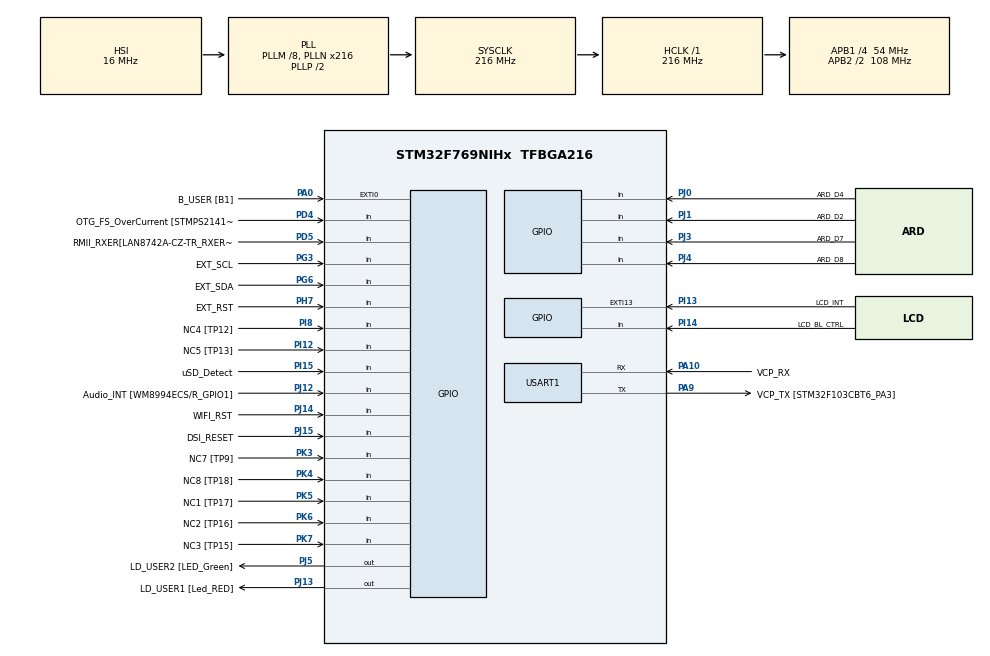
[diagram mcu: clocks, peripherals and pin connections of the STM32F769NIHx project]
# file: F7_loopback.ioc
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CORTEX_M7.CPU_DCache=Enabled
CORTEX_M7.CPU_ICache=Enabled
CORTEX_M7.Enable-Cortex_Memory_Protection_Unit_Region0_Settings=MPU_REGION_ENABLE
CORTEX_M7.MPU_Control=__NULL
DSIHOST_CKN.GPIO_Label=DSI_CK_N
DSIHOST_CKN.Signal=DSIHOST_CKN
DSIHOST_CKP.GPIO_Label=DSI_CK_P
DSIHOST_CKP.Signal=DSIHOST_CKP
DSIHOST_D0N.GPIO_Label=DSI_D0_N
DSIHOST_D0N.Signal=DSIHOST_D0N
DSIHOST_D0P.GPIO_Label=DSI_D0_p
DSIHOST_D0P.Signal=DSIHOST_D0P
DSIHOST_D1N.GPIO_Label=DSI_D1_N
DSIHOST_D1N.Signal=DSIHOST_D1N
DSIHOST_D1P.GPIO_Label=DSI_D1_P
DSIHOST_D1P.Signal=DSIHOST_D1P
Mcu.Family=STM32F7
Mcu.Name=STM32F769NIHx
Mcu.Package=TFBGA216
NVIC.PriorityGroup=NVIC_PRIORITYGROUP_4
PA0/WKUP.GPIO_Label=B_USER [B1]
PA0/WKUP.Signal=GPXTI0
PA1.GPIO_Label=RMII_REF_CLK [LAN8742A-CZ-TR_REFCLK0]
PA1.Signal=ETH_REF_CLK
PA10.GPIO_Label=VCP_RX 
PA10.Mode=Asynchronous
PA10.Signal=USART1_RX
PA11.GPIO_Label=SPI2_NSS
PA11.Signal=SPI2_NSS
PA12.GPIO_Label=ARD_D13/SCK
PA12.GPIO_Mode=GPIO_MODE_AF_PP
PA12.GPIO_PuPd=GPIO_NOPULL
PA12.GPIO_Speed=GPIO_SPEED_FREQ_LOW
PA12.Signal=SPI2_SCK
PA13.GPIO_Label=SWDIO
PA13.Signal=SYS_JTMS-SWDIO
PA14.GPIO_Label=SWCLK
PA14.Signal=SYS_JTCK-SWCLK
PA15.GPIO_Label=CEC
PA15.Signal=CEC
PA2.GPIO_Label=RMII_MDIO [LAN8742A-CZ-TR_MDIO]
PA2.Signal=ETH_MDIO
PA3.GPIO_Label=ULPI_D0 [USB3320C-EZK_D0]
PA3.Signal=USB_OTG_HS_ULPI_D0
PA4.GPIO_Label=ARD_A1
PA4.Signal=ADCx_IN4
PA5.GPIO_Label=ULPI_CLK [USB3320C-EZK_CLKOUT]
PA5.Signal=USB_OTG_HS_ULPI_CK
PA6.GPIO_Label=ARD_A0
PA6.Signal=ADCx_IN6
PA7.GPIO_Label=RMII_CRS_DV [LAN8742A-CZ-TR_CRS_DV]
PA7.Signal=ETH_CRS_DV
PA8.GPIO_Label=CEC_CLK [TP2]
PA8.Signal=RCC_MCO_1
PA9.GPIO_Label=VCP_TX [STM32F103CBT6_PA3]
PA9.GPIO_Mode=GPIO_MODE_AF_PP
PA9.GPIO_PuPd=GPIO_NOPULL
PA9.GPIO_Speed=GPIO_SPEED_FREQ_LOW
PA9.Mode=Asynchronous
PA9.Signal=USART1_TX
PB0.GPIO_Label=ULPI_D1 [USB3320C-EZK_D1]
PB0.Signal=USB_OTG_HS_ULPI_D1
PB1.GPIO_Label=ULPI_D2 [USB3320C-EZK_D2]
PB1.Signal=USB_OTG_HS_ULPI_D2
PB10.GPIO_Label=ULPI_D3 [USB3320C-EZK_D3]
PB10.Signal=USB_OTG_HS_ULPI_D3
PB11.GPIO_Label=ULPI_D4 [USB3320C-EZK_D4]
PB11.Signal=USB_OTG_HS_ULPI_D4
PB12.GPIO_Label=ULPI_D5 [USB3320C-EZK_D5]
PB12.Signal=USB_OTG_HS_ULPI_D5
PB13.GPIO_Label=ULPI_D6 [USB3320C-EZK_D6]
PB13.Signal=USB_OTG_HS_ULPI_D6
PB14.GPIO_Label=ARDUINO MISO/D12
PB14.GPIO_Mode=GPIO_MODE_AF_PP
PB14.GPIO_PuPd=GPIO_NOPULL
PB14.GPIO_Speed=GPIO_SPEED_FREQ_LOW
PB14.Signal=SPI2_MISO
PB15.GPIO_Label=ARDUINO MOSI/PWM/D11
PB15.GPIO_Mode=GPIO_MODE_AF_PP
PB15.GPIO_PuPd=GPIO_NOPULL
PB15.GPIO_Speed=GPIO_SPEED_FREQ_LOW
PB15.Signal=SPI2_MOSI
PB2.Signal=QUADSPI_CLK
PB3.GPIO_Label=uSD_D2
PB3.Signal=SDMMC2_D2
PB4.GPIO_Label=uSD_D3
PB4.Signal=SDMMC2_D3
PB5.GPIO_Label=ULPI_D7 [USB3320C-EZK_D7]
PB5.Signal=USB_OTG_HS_ULPI_D7
PB6.GPIO_Label=QSPI_NCS [N25Q128A13EF840E_S]
PB6.Signal=QUADSPI_BK1_NCS
PB7.GPIO_Label=AUDIO_SDA [WM8994ECS/R_SDA]
PB7.Signal=I2C4_SDA
PB8.GPIO_Label=ARDUINO SCL/D15
PB8.GPIO_Mode=GPIO_MODE_AF_OD
PB8.GPIO_PuPd=GPIO_NOPULL
PB8.GPIO_Speed=GPIO_SPEED_FREQ_LOW
PB8.Signal=I2C1_SCL
PB9.GPIO_Label=ARDUINO SDA/D14
PB9.GPIO_Mode=GPIO_MODE_AF_OD
PB9.GPIO_PuPd=GPIO_NOPULL
PB9.GPIO_Speed=GPIO_SPEED_FREQ_LOW
PB9.Signal=I2C1_SDA
PC0.GPIO_Label=ULPI_STP [USB3320C-EZK_STP]
PC0.Signal=USB_OTG_HS_ULPI_STP
PC1.GPIO_Label=RMII_MDC [LAN8742A-CZ-TR_MDC]
PC1.Signal=ETH_MDC
PC10.GPIO_Label=QSPI_D1 [MT25QL512ABB1EW9_DQ1]
PC10.Signal=QUADSPI_BK1_IO1
PC11.GPIO_Label=DFSDM_DATIN5 [TP100]
PC11.Signal=S_DATAIN5DFSDM1
PC12.GPIO_Label=WIFI_RX
PC12.Signal=UART5_TX
PC14/OSC32_IN.GPIO_Label=RCC_OSC32_IN
PC14/OSC32_IN.Signal=RCC_OSC32_IN
PC15/OSC32_OUT.GPIO_Label=RCC_OSC32_OUT
PC15/OSC32_OUT.Signal=RCC_OSC32_OUT
PC2.GPIO_Label=ARD_A2
PC2.Signal=ADCx_IN12
PC3.GPIO_Label=DFSDM_DATIN1 [TP101]
PC3.Signal=S_DATAIN1DFSDM1
PC4.GPIO_Label=RMII_RXD0 [LAN8742A-CZ-TR_RXD0]
PC4.Signal=ETH_RXD0
PC5.GPIO_Label=RMII_RXD1 [LAN8742A-CZ-TR_RXD1]
PC5.Signal=ETH_RXD1
PC6.GPIO_Label=ARDUINO TX/D1
PC6.Signal=USART6_TX
PC7.GPIO_Label=ARD_D0/RX
PC7.Signal=USART6_RX
PC8.GPIO_Label=ARD_D5/PWM
PC8.Signal=S_TIM3_CH3
PC9.GPIO_Label=QSPI_D0 [N25Q128A13EF840E_DQ0]
PC9.Signal=QUADSPI_BK1_IO0
PD0.GPIO_Label=FMC_D2 [MT48LC4M32B2B5-6A_DQ2]
PD0.Signal=FMC_D2_DA2
PD1.GPIO_Label=FMC_D3 [MT48LC4M32B2B5-6A_DQ3]
PD1.Signal=FMC_D3_DA3
PD10.GPIO_Label=FMC_D15 [MT48LC4M32B2B5-6A_DQ15]
PD10.Signal=FMC_D15_DA15
PD11.GPIO_Label=SPDIF_TX [TP20]
PD11.Signal=SAI2_SD_A
PD12.GPIO_Label=AUDIO_SCL [WM8994ECS/R_SCLK]
PD12.Signal=I2C4_SCL
PD13.GPIO_Label=QSPI_D3 [N25Q128A13EF840E_DQ3]
PD13.Signal=QUADSPI_BK1_IO3
PD14.GPIO_Label=FMC_D0 [MT48LC4M32B2B5-6A_DQ0]
PD14.Signal=FMC_D0_DA0
PD15.GPIO_Label=FMC_D1 [MT48LC4M32B2B5-6A_DQ1]
PD15.Signal=FMC_D1_DA1
PD2.GPIO_Label=WIFI_TX
PD2.Signal=UART5_RX
PD3.GPIO_Label=DFSDM_CKOUT [TP102]
PD3.Signal=S_CKOUTDFSDM1
PD4.GPIO_Label=OTG_FS_OverCurrent [STMPS2141STR_Fault]
PD4.Signal=GPIO_Input
PD5.GPIO_Label=RMII_RXER[LAN8742A-CZ-TR_RXERR]
PD5.Signal=GPIO_Input
PD6.GPIO_Label=uSD_CLK
PD6.Signal=SDMMC2_CK
PD7.GPIO_Label=uSD_CMD
PD7.Signal=SDMMC2_CMD
PD8.GPIO_Label=FMC_D13 [MT48LC4M32B2B5-6A_DQ13]
PD8.Signal=FMC_D13_DA13
PD9.GPIO_Label=FMC_D14 [MT48LC4M32B2B5-6A_DQ14]
PD9.Signal=FMC_D14_DA14
PE0.GPIO_Label=FMC_NBL0 [MT48LC4M32B2B5-6A_DQM0]
PE0.Signal=FMC_NBL0
PE1.GPIO_Label=FMC_NBL1 [MT48LC4M32B2B5-6A_DQM1]
PE1.Signal=FMC_NBL1
PE10.GPIO_Label=FMC_D7 [MT48LC4M32B2B5-6A_DQ7]
PE10.Signal=FMC_D7_DA7
PE11.GPIO_Label=FMC_D8 [MT48LC4M32B2B5-6A_DQ8]
PE11.Signal=FMC_D8_DA8
PE12.GPIO_Label=FMC_D9 [MT48LC4M32B2B5-6A_DQ9]
PE12.Signal=FMC_D9_DA9
PE13.GPIO_Label=FMC_D10 [MT48LC4M32B2B5-6A_DQ10]
PE13.Signal=FMC_D10_DA10
PE14.GPIO_Label=FMC_D11 [MT48LC4M32B2B5-6A_DQ11]
PE14.Signal=FMC_D11_DA11
PE15.GPIO_Label=FMC_D12 [MT48LC4M32B2B5-6A_DQ12]
PE15.Signal=FMC_D12_DA12
PE2.GPIO_Label=QSPI_D2 [N25Q128A13EF840E_DQ2]
PE2.Signal=QUADSPI_BK1_IO2
PE3.GPIO_Label=SAI1_SDB [WM8994ECS/R_ADCDAT1]
PE3.Signal=SAI1_SD_B
PE4.GPIO_Label=SAI1_FSA [WM8994ECS/R_LRCLK1]
PE4.Signal=SAI1_FS_A
PE5.GPIO_Label=SAI1_SCKA [WM8994ECS/R_BCLK1]
PE5.Signal=SAI1_SCK_A
PE6.GPIO_Label=SAI1_SDA [WM8994ECS/R_DACDAT1]
PE6.Signal=SAI1_SD_A
PE7.GPIO_Label=FMC_D4 [MT48LC4M32B2B5-6A_DQ4]
PE7.Signal=FMC_D4_DA4
PE8.GPIO_Label=FMC_D5 [MT48LC4M32B2B5-6A_DQ5]
PE8.Signal=FMC_D5_DA5
PE9.GPIO_Label=FMC_D6 [MT48LC4M32B2B5-6A_DQ6]
PE9.Signal=FMC_D6_DA6
PF0.GPIO_Label=FMC_A0 [MT48LC4M32B2B5-6A_A0]
PF0.Signal=FMC_A0
PF1.GPIO_Label=FMC_A1 [MT48LC4M32B2B5-6A_A1]
PF1.Signal=FMC_A1
PF10.GPIO_Label=ARDUINO A1
PF10.GPIO_Mode=GPIO_MODE_ANALOG
PF10.GPIO_PuPd=GPIO_NOPULL
PF10.Signal=ADC3_IN8
PF11.GPIO_Label=FMC_SDNRAS [MT48LC4M32B2B5-6A_RAS]
PF11.Signal=FMC_SDNRAS
PF12.GPIO_Label=FMC_A6 [MT48LC4M32B2B5-6A_A6]
PF12.Signal=FMC_A6
PF13.GPIO_Label=FMC_A7 [MT48LC4M32B2B5-6A_A7]
PF13.Signal=FMC_A7
PF14.GPIO_Label=FMC_A8 [MT48LC4M32B2B5-6A_A8]
PF14.Signal=FMC_A8
PF15.GPIO_Label=FMC_A9 [MT48LC4M32B2B5-6A_A9]
PF15.Signal=FMC_A9
PF2.GPIO_Label=FMC_A2 [MT48LC4M32B2B5-6A_A2]
PF2.Signal=FMC_A2
PF3.GPIO_Label=FMC_A3 [MT48LC4M32B2B5-6A_A3]
PF3.Signal=FMC_A3
PF4.GPIO_Label=FMC_A4 [MT48LC4M32B2B5-6A_A4]
PF4.Signal=FMC_A4
PF5.GPIO_Label=FMC_A5 [MT48LC4M32B2B5-6A_A5]
PF5.Signal=FMC_A5
PF6.GPIO_Label=ARD_D3/PWM
PF6.Signal=S_TIM10_CH1
PF7.GPIO_Label=ARD_D6/PWM
PF7.Signal=S_TIM11_CH1
PF8.GPIO_Label=ARDUINO A3
PF8.GPIO_Mode=GPIO_MODE_ANALOG
PF8.GPIO_PuPd=GPIO_NOPULL
PF8.Signal=ADC3_IN6
PF9.GPIO_Label=ARDUINO A2
PF9.GPIO_Mode=GPIO_MODE_ANALOG
PF9.GPIO_PuPd=GPIO_NOPULL
PF9.Signal=ADC3_IN7
PG0.GPIO_Label=FMC_A10 [MT48LC4M32B2B5-6A_A10]
PG0.Signal=FMC_A10
PG1.GPIO_Label=FMC_A11 [MT48LC4M32B2B5-6A_A11]
PG1.Signal=FMC_A11
PG10.GPIO_Label=uSD_D1
PG10.Signal=SDMMC2_D1
PG11.GPIO_Label=RMII_TX_EN [LAN8742A-CZ-TR_TXEN]
PG11.Signal=ETH_TX_EN
PG12.GPIO_Label=SPDIF_RX [74LVC1G04SE_4]
PG12.Signal=SPDIFRX_IN1
PG13.GPIO_Label=RMII_TXD0 [LAN8742A-CZ-TR_TXD0]
PG13.Signal=ETH_TXD0
PG14.GPIO_Label=RMII_TXD1 [LAN8742A-CZ-TR_TXD1]
PG14.Signal=ETH_TXD1
PG15.GPIO_Label=FMC_SDNCAS [MT48LC4M32B2B5-6A_CAS]
PG15.Signal=FMC_SDNCAS
PG2.GPIO_Label=FMC_A12
PG2.Signal=FMC_A12
PG3.GPIO_Label=EXT_SCL
PG3.Signal=GPIO_Input
PG4.GPIO_Label=FMC_BA0 [MT48LC4M32B2B5-6A_BA0]
PG4.Signal=FMC_A14_BA0
PG5.GPIO_Label=FMC_BA1 [MT48LC4M32B2B5-6A_BA1]
PG5.Signal=FMC_A15_BA1
PG6.GPIO_Label=EXT_SDA
PG6.Signal=GPIO_Input
PG7.GPIO_Label=SAI1_MCLKA [WM8994ECS/R_MCLK1]
PG7.Signal=SAI1_MCLK_A
PG8.GPIO_Label=FMC_SDCLK [MT48LC4M32B2B5-6A_CLK]
PG8.Signal=FMC_SDCLK
PG9.GPIO_Label=uSD_D0
PG9.Signal=SDMMC2_D0
PH0/OSC_IN.GPIO_Label=OSC_25M [NZ2520SB-25.00M_OUT]
PH0/OSC_IN.Signal=RCC_OSC_IN
PH1/OSC_OUT.Signal=RCC_OSC_OUT
PH10.GPIO_Label=FMC_D18 [MT48LC4M32B2B5-6A_DQ18]
PH10.Signal=FMC_D18
PH11.GPIO_Label=FMC_D19 [MT48LC4M32B2B5-6A_DQ19]
PH11.Signal=FMC_D19
PH12.GPIO_Label=D20
PH12.Signal=FMC_D20
PH13.GPIO_Label=D21
PH13.Signal=FMC_D21
PH14.GPIO_Label=D22
PH14.Signal=FMC_D22
PH15.GPIO_Label=D23
PH15.Signal=FMC_D23
PH2.GPIO_Label=FMC_SDCKE0 [MT48LC4M32B2B5-6A_CKE]
PH2.Signal=FMC_SDCKE0
PH3.GPIO_Label=FMC_SDNE0 [MT48LC4M32B2B5-6A_CS]
PH3.Signal=FMC_SDNE0
PH4.GPIO_Label=ULPI_NXT [USB3320C-EZK_NXT]
PH4.Signal=USB_OTG_HS_ULPI_NXT
PH5.GPIO_Label=FMC_SDNME [MT48LC4M32B2B5-6A_WE]
PH5.Signal=FMC_SDNWE
PH6.GPIO_Label=ARDUINO PWM/D6
PH6.Signal=S_TIM12_CH1
PH7.GPIO_Label=EXT_RST
PH7.Signal=GPIO_Input
PH8.GPIO_Label=FMC_D16 [MT48LC4M32B2B5-6A_DQ16]
PH8.Signal=FMC_D16
PH9.GPIO_Label=FMC_D\!7 [MT48LC4M32B2B5-6A_DQ17]
PH9.Signal=FMC_D17
PI0.GPIO_Label=D24
PI0.Signal=FMC_D24
PI1.GPIO_Label=D25
PI1.Signal=FMC_D25
PI10.GPIO_Label=D31
PI10.Signal=FMC_D31
PI11.GPIO_Label=ULPI_DIR [USB3320C-EZK_DIR]
PI11.Signal=USB_OTG_HS_ULPI_DIR
PI12.GPIO_Label=NC5 [TP13]
PI12.Signal=GPIO_Input
PI13.GPIO_Label=LCD_INT
PI13.GPIO_ModeDefaultEXTI=GPIO_MODE_EVT_RISING
PI13.Signal=GPXTI13
PI14.GPIO_Label=LCD_BL_CTRL
PI14.Signal=GPIO_Input
PI15.GPIO_Label=uSD_Detect
PI15.Signal=GPIO_Input
PI2.GPIO_Label=D26
PI2.Signal=FMC_D26
PI3.GPIO_Label=D27
PI3.Signal=FMC_D27
PI4.GPIO_Label=FMC_NBL2 [MT48LC4M32B2B5-6A_DQM2]
PI4.Signal=FMC_NBL2
PI5.GPIO_Label=FMC_NBL3 [MT48LC4M32B2B5-6A_DQM3]
PI5.Signal=FMC_NBL3
PI6.GPIO_Label=D28
PI6.Signal=FMC_D28
PI7.GPIO_Label=D29
PI7.Signal=FMC_D29
PI8.GPIO_Label=NC4 [TP12]
PI8.Signal=GPIO_Input
PI9.GPIO_Label=D30
PI9.Signal=FMC_D30
PJ0.GPIO_Label=ARD_D4
PJ0.Signal=GPIO_Input
PJ1.GPIO_Label=ARD_D2
PJ1.Signal=GPIO_Input
PJ12.GPIO_Label=Audio_INT [WM8994ECS/R_GPIO1]
PJ12.Signal=GPIO_Input
PJ13.GPIO_Label=LD_USER1 [Led_RED]
PJ13.Signal=GPIO_Output
PJ14.GPIO_Label=WIFI_RST
PJ14.Signal=GPIO_Input
PJ15.GPIO_Label=DSI_RESET
PJ15.Signal=GPIO_Input
PJ2.GPIO_Label=DSIHOST_TE
PJ2.Signal=DSIHOST_TE
PJ3.GPIO_Label=ARD_D7
PJ3.Signal=GPIO_Input
PJ4.GPIO_Label=ARD_D8
PJ4.Signal=GPIO_Input
PJ5.GPIO_Label=LD_USER2 [LED_Green]
PJ5.Signal=GPIO_Output
PK3.GPIO_Label=NC7 [TP9]
PK3.Signal=GPIO_Input
PK4.GPIO_Label=NC8 [TP18]
PK4.Signal=GPIO_Input
PK5.GPIO_Label=NC1 [TP17]
PK5.Signal=GPIO_Input
PK6.GPIO_Label=NC2 [TP16]
PK6.Signal=GPIO_Input
PK7.GPIO_Label=NC3 [TP15]
PK7.Signal=GPIO_Input
ProjectManager.HeapSize=0x200
ProjectManager.StackSize=0x400
ProjectManager.TargetToolchain=STM32CubeIDE
RCC.AHBFreq_Value=216000000
RCC.APB1CLKDivider=RCC_HCLK_DIV4
RCC.APB1Freq_Value=54000000
RCC.APB1TimFreq_Value=108000000
RCC.APB2CLKDivider=RCC_HCLK_DIV2
RCC.APB2Freq_Value=108000000
RCC.APB2TimFreq_Value=216000000
RCC.CortexFreq_Value=216000000
RCC.HCLKFreq_Value=216000000
RCC.HSE_VALUE=25000000
RCC.HSI_VALUE=16000000
RCC.LSE_VALUE=32768
RCC.PLLM=8
RCC.PLLN=216
RCC.PLLQ=4
RCC.PLLSAIQ=3
RCC.SYSCLKFreq_VALUE=216000000
RCC.SYSCLKSource=RCC_SYSCLKSOURCE_PLLCLK
RCC.USBFreq_Value=108000000
RCC.VCOOutputFreq_Value=432000000
SH.ADCx_IN12.0=ADC1_IN12
SH.ADCx_IN4.0=ADC1_IN4
SH.ADCx_IN6.0=ADC1_IN6
SH.FMC_A0.0=FMC_A0
SH.FMC_A1.0=FMC_A1
SH.FMC_A10.0=FMC_A10
SH.FMC_A11.0=FMC_A11
SH.FMC_A12.0=FMC_A12
SH.FMC_A14_BA0.0=FMC_BA0
SH.FMC_A15_BA1.0=FMC_BA1
SH.FMC_A2.0=FMC_A2
SH.FMC_A3.0=FMC_A3
SH.FMC_A4.0=FMC_A4
SH.FMC_A5.0=FMC_A5
SH.FMC_A6.0=FMC_A6
SH.FMC_A7.0=FMC_A7
SH.FMC_A8.0=FMC_A8
SH.FMC_A9.0=FMC_A9
SH.FMC_D0_DA0.0=FMC_D0
SH.FMC_D10_DA10.0=FMC_D10
SH.FMC_D11_DA11.0=FMC_D11
SH.FMC_D12_DA12.0=FMC_D12
SH.FMC_D13_DA13.0=FMC_D13
SH.FMC_D14_DA14.0=FMC_D14
SH.FMC_D15_DA15.0=FMC_D15
SH.FMC_D16.0=FMC_D16
SH.FMC_D17.0=FMC_D17
SH.FMC_D18.0=FMC_D18
SH.FMC_D19.0=FMC_D19
SH.FMC_D1_DA1.0=FMC_D1
SH.FMC_D20.0=FMC_D20
SH.FMC_D21.0=FMC_D21
SH.FMC_D22.0=FMC_D22
SH.FMC_D23.0=FMC_D23
SH.FMC_D24.0=FMC_D24
SH.FMC_D25.0=FMC_D25
SH.FMC_D26.0=FMC_D26
SH.FMC_D27.0=FMC_D27
SH.FMC_D28.0=FMC_D28
SH.FMC_D29.0=FMC_D29
SH.FMC_D2_DA2.0=FMC_D2
SH.FMC_D30.0=FMC_D30
SH.FMC_D31.0=FMC_D31
SH.FMC_D3_DA3.0=FMC_D3
SH.FMC_D4_DA4.0=FMC_D4
SH.FMC_D5_DA5.0=FMC_D5
SH.FMC_D6_DA6.0=FMC_D6
SH.FMC_D7_DA7.0=FMC_D7
SH.FMC_D8_DA8.0=FMC_D8
SH.FMC_D9_DA9.0=FMC_D9
SH.FMC_NBL0.0=FMC_NBL0
SH.FMC_NBL1.0=FMC_NBL1
SH.FMC_NBL2.0=FMC_NBL2
SH.FMC_NBL3.0=FMC_NBL3
SH.FMC_SDCLK.0=FMC_SDCLK
SH.FMC_SDNCAS.0=FMC_SDNCAS
SH.FMC_SDNRAS.0=FMC_SDNRAS
SH.FMC_SDNWE.0=FMC_SDNWE
SH.S_CKOUTDFSDM1.0=DFSDM1_CKOUT
SH.S_DATAIN1DFSDM1.0=DFSDM1_DATIN1
SH.S_DATAIN5DFSDM1.0=DFSDM1_DATIN5
SH.S_TIM10_CH1.0=TIM10_CH1
SH.S_TIM11_CH1.0=TIM11_CH1
SH.S_TIM12_CH1.0=TIM12_CH1
SH.S_TIM3_CH3.0=TIM3_CH3
USART1.VirtualMode-Asynchronous=VM_ASYNC
board=STM32F769I-DISCO

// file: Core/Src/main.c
/* USER CODE BEGIN Header */
/**
  ******************************************************************************
  * @file           : main.c
  * @brief          : Main program body
  ******************************************************************************
  * @attention
  *
  * Copyright (c) 2023 Adam Slaymark.
  * All rights reserved.
  *
  ******************************************************************************
  */
/* USER CODE END Header */
#include "main.h"
#include "usart.h"
#include "gpio.h"

/* USER CODE BEGIN Includes */
#include "stdio.h"
#include "stdbool.h"
#include "audio_init.h"
#include <stdlib.h>
#include "retarget.h"
#include "wm8994.h"
#include "envelope.h"
#include "arm_math.h"
//#include "led_proc.h"

// import filters
#include "highPass_coef_6000Hz.h"
#include "lowPass_coef_2000Hz.h"

/* USER CODE END Includes */

/* USER CODE BEGIN PD */

// Envelope settings
#define THRESHOLD 2350

//Yes No settings
#define CUTOFF 0.0032
#define YESMAX 1.368
#define NOMIN 0.000184

/* USER CODE END PD */

void SystemClock_Config(void);

/* USER CODE BEGIN PFP */
void ProcessBuffer(int16_t *, Process *);
void YesNo(int16_t *, float32_t *, float32_t *, Process *);

/* USER CODE END PFP */

/* USER CODE BEGIN 0 */

//Define buffer for right and left audio channels
static int16_t recordBuffer_R[BUFFER_SIZE / 2];
static int16_t recordBuffer_L[BUFFER_SIZE / 2];

__IO BufferStatusMessage_t bufferStatus;

//static int16_t audioProcessBuffer[PROCESS_BUFFER_SIZE];

/* USER CODE END 0 */

int main(void) {
    /* USER CODE BEGIN 1 */
    SCB_InvalidateICache();

    SCB->CCR |= (1 << 18); /* Enable branch prediction */
    __DSB();

    SCB_InvalidateICache();

    /* USER CODE END 1 */

    /* Enable I-Cache---------------------------------------------------------*/
    SCB_EnableICache();

    /* Enable D-Cache---------------------------------------------------------*/
    SCB_EnableDCache();

    /* MCU Configuration--------------------------------------------------------*/

    /* Reset of all peripherals, Initializes the Flash interface and the Systick. */
    HAL_Init();

    /* Configure the system clock */
    SystemClock_Config();

    /* Initialize all configured peripherals */
    MX_GPIO_Init();
    MX_USART1_UART_Init();
    /* USER CODE BEGIN 2 */
    RetargetInit(&huart1);
    printf("Program Started!--------------------\n");

    //Initialise Audio -  Frequency selection must be defined by the wm9884 driver
    Audio_Init(SAMPLE_RATE, 85);

    // Could be a global variable, however it is good to practice memory safety
    Process process = {
            .init = 0,
            .change_flag = 0,
            .buff_pos = 0,
            .YesNo = 2,
            .work = 0,
    };

    envelope_alloc();

    /* USER CODE END 2 */

    /* Infinite loop */
    while (1) {

        /* USER CODE BEGIN 3 */

        // Run LED function
        LED_Process(&process);

        switch (bufferStatus) {
            case BUFFER_STATUS_LOWER_HALF_FULL: {
                RX_LowerHalf(&recordBuffer_L[0], &recordBuffer_R[0], BUFFER_SIZE / 2);
                ProcessBuffer(&recordBuffer_L[0], &process);

#ifdef DEBUG
                TX_LowerHalf(&recordBuffer_L[0], &recordBuffer_R[0], BUFFER_SIZE / 2);
#endif
                bufferStatus = BUFFER_STATUS_IDLE;
                break;
            }
            case BUFFER_STATUS_UPPER_HALF_FULL: {
                RX_UpperHalf(&recordBuffer_L[0], &recordBuffer_R[0], BUFFER_SIZE / 2);
                ProcessBuffer(&recordBuffer_L[0], &process);

#ifdef DEBUG
                TX_UpperHalf(&recordBuffer_L[0], &recordBuffer_R[0], BUFFER_SIZE / 2);
#endif
                bufferStatus = BUFFER_STATUS_IDLE;
                break;
            }
            default:
                break;
        }
    }
    /* USER CODE END 3 */
}

void SystemClock_Config(void) {
    RCC_OscInitTypeDef RCC_OscInitStruct = {0};
    RCC_ClkInitTypeDef RCC_ClkInitStruct = {0};

    /** Configure the main internal regulator output voltage
    */
    __HAL_RCC_PWR_CLK_ENABLE();
    __HAL_PWR_VOLTAGESCALING_CONFIG(PWR_REGULATOR_VOLTAGE_SCALE1);

    /** Initializes the RCC Oscillators according to the specified parameters
    * in the RCC_OscInitTypeDef structure.
    */
    RCC_OscInitStruct.OscillatorType = RCC_OSCILLATORTYPE_HSI;
    RCC_OscInitStruct.HSIState = RCC_HSI_ON;
    RCC_OscInitStruct.HSICalibrationValue = RCC_HSICALIBRATION_DEFAULT;
    RCC_OscInitStruct.PLL.PLLState = RCC_PLL_ON;
    RCC_OscInitStruct.PLL.PLLSource = RCC_PLLSOURCE_HSI;
    RCC_OscInitStruct.PLL.PLLM = 8;
    RCC_OscInitStruct.PLL.PLLN = 216;
    RCC_OscInitStruct.PLL.PLLP = RCC_PLLP_DIV2;
    RCC_OscInitStruct.PLL.PLLQ = 4;
    RCC_OscInitStruct.PLL.PLLR = 2;
    if (HAL_RCC_OscConfig(&RCC_OscInitStruct) != HAL_OK) {
        Error_Handler();
    }

    /** Activate the Over-Drive mode
    */
    if (HAL_PWREx_EnableOverDrive() != HAL_OK) {
        Error_Handler();
    }

    /** Initializes the CPU, AHB and APB buses clocks
    */
    RCC_ClkInitStruct.ClockType = RCC_CLOCKTYPE_HCLK | RCC_CLOCKTYPE_SYSCLK
                                  | RCC_CLOCKTYPE_PCLK1 | RCC_CLOCKTYPE_PCLK2;
    RCC_ClkInitStruct.SYSCLKSource = RCC_SYSCLKSOURCE_PLLCLK;
    RCC_ClkInitStruct.AHBCLKDivider = RCC_SYSCLK_DIV1;
    RCC_ClkInitStruct.APB1CLKDivider = RCC_HCLK_DIV4;
    RCC_ClkInitStruct.APB2CLKDivider = RCC_HCLK_DIV2;

    if (HAL_RCC_ClockConfig(&RCC_ClkInitStruct, FLASH_LATENCY_7) != HAL_OK) {
        Error_Handler();
    }
}

/* USER CODE BEGIN 4 */

static float32_t tmp_m[BUFFER_SIZE / 2] = {0};
static float32_t HP = 0.0f;
static float32_t LP = 0.0f;

// Main function for processing the buffer
void ProcessBuffer(int16_t *S, Process *P) {
    //uint32_t start = HAL_GetTick();
    // allocate temporary results buffer, make sure to fill buffer with zeros.
    envelope(S, tmp_m);

    //Check if process has init
    if (!P->init) {
        //puts("in zero");

        // Check if the threshold is greater than zero
        if (tmp_m[0] != 0) {
            // iterate through the buffer to check whether any value exceeds threshold
            for (int i = 0; i < (BUFFER_SIZE / 2); i++) {
                //printf("%f\n",tmp_m[i]);
                //Check threshold
                if (tmp_m[i] > THRESHOLD) {
                    //if greater, set init to true
                    P->init = true;
                    puts("start");
                    YesNo(&S[0], &HP, &LP, P);
                    break;
                }
            }
        }
    } else {
        puts("end");
        for (uint32_t i = 0; i < (BUFFER_SIZE / 2); i++) {
            if (tmp_m[i] < THRESHOLD) {
                puts("reached threshold for end");

                P->buff_pos = 0;
                P->work = 1;
                P->init = false;
                break;
            }
        }
        // Check if yes or no, write to struct
        YesNo(&S[0], &HP, &LP, P);
        //printf("signal status: %d\n", P->YesNo);
    }
    uint32_t end = HAL_GetTick();

    //printf("Elapsed Time for process: %lu", (end - start));
}

//Create buffer for temporary float
float tmpBuffer[BUFFER_SIZE / 2] = {0};

/**
  * @brief  Detects yes or no from signal.
  * @param  *buffer: input samples address
  * @param  *HP: High Pass value address
  * @param  *LP: Low Pass value address
  * @param  *P: Process structure address
  */
void YesNo(int16_t *buffer, float32_t *HP, float32_t *LP, Process *P) {
//Create filter buffer
    float32_t filter_buffer[BUFFER_SIZE / 2];

    // copy data to float buffer
    for (uint32_t i = 0; i < (BUFFER_SIZE / 2); i++) {
        tmpBuffer[i] = (float) buffer[i];
    }

//    //HP filter the signal
    arm_biquad_cascade_df2T_f32(
            &highPass,
            tmpBuffer,//(float*)buffer,
            filter_buffer,
            BUFFER_SIZE / 2);

    for (uint32_t i = 0; i < (BUFFER_SIZE / 2); i++) {
        // Sum and square sample values
        *HP = (filter_buffer[i] * filter_buffer[i]) + *HP;
    }
    memset(filter_buffer, 0, (sizeof(float32_t) * (BUFFER_SIZE / 2)));

    // LP filter the signal
    arm_biquad_cascade_df2T_f32(
            &lowPass,
            tmpBuffer,//(float*)buffer,
            filter_buffer,
            (BUFFER_SIZE / 2));

    for (uint32_t i = 0; i < (BUFFER_SIZE / 2); i++) {
        *LP = (filter_buffer[i] * filter_buffer[i]) + *LP;
    }

    // Do this once the recording has ended which is when envelope declares end of sample
    if (P->work == 1) {
        //calculate ratio
        float32_t ratio = *HP / *LP;
        P->work = 0;

        //Reset HP and LP to zero
        *HP = 0.0f;
        *LP = 0.0f;

        if (ratio >= CUTOFF) {
            if (ratio <= YESMAX) P->YesNo = YES; // return yes
            else P->YesNo = ERR; // return error
        } else {
            if (ratio >= NOMIN) P->YesNo = NO; //return no
            else P->YesNo = ERR; //return error
        }
        P->change_flag = 1;
    }
}

//These functions must be included as DMA callback
void AUDIO_IN_HalfTransfer_CallBack(void) {
    //printf("AUDIO IN HALF");
    bufferStatus = BUFFER_STATUS_LOWER_HALF_FULL;
}

void AUDIO_IN_TransferComplete_CallBack(void) {
    //printf("AUDIO IN COMPLETE");
    bufferStatus = BUFFER_STATUS_UPPER_HALF_FULL;
}

void AUDIO_OUT_Error_CallBack(void) {
    puts("DMA Error");
}

/* USER CODE END 4 */

void Error_Handler(void) {
    /* USER CODE BEGIN Error_Handler_Debug */
    /* User can add his own implementation to report the HAL error return state */
    puts("entered error state");
    __disable_irq();
    while (1) {
    }
    /* USER CODE END Error_Handler_Debug */
}
